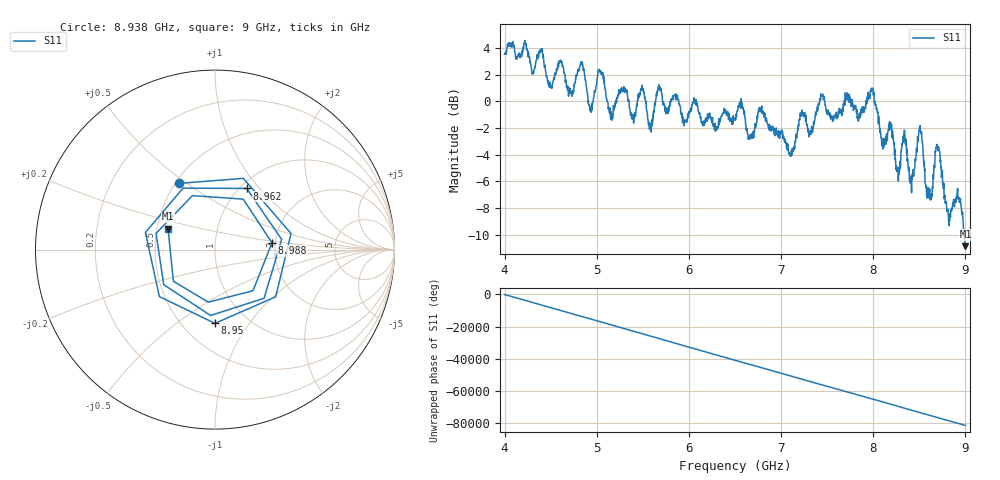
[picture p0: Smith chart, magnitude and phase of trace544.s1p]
! Created with skrf 1.8.0 (http://scikit-rf.org).
# Hz S RI R 50.0
!freq ReS11 ImS11
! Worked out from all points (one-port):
!   1601 points, 4 GHz to 9 GHz, reference 50 ohm
!   lowest |S11| = -10.9 dB at 9 GHz (marker M1), VSWR 1.80, Z = 28.6 + j7.29 ohm
!   |S11| at or under -10 dB: 8.989364 GHz to end of sweep
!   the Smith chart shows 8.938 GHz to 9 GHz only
!   S11 on the Smith chart (normalised r, x): 8.938 GHz: 0.52, +0.47; 8.95 GHz: 0.71, -0.70; 8.962 GHz: 1.07, +0.86; 8.988 GHz: 1.92, +0.16; 9 GHz: 0.57, +0.15
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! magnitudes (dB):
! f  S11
! 4 GHz  3.5
! 4.625 GHz  2.6
! 4.716 GHz  0.8
! 4.841 GHz  2.8
! 4.931 GHz  -0.5
! 5.034 GHz  2.3
! 5.153 GHz  -1.1
! 5.25 GHz  0.7
! 5.581 GHz  -1.7
! 5.672 GHz  1.3
! 5.875 GHz  0.4
! 6.5 GHz  -1.3
! 7.125 GHz  -3.8
! 7.231 GHz  -1.1
! 7.75 GHz  0.2
! 7.991 GHz  0.9
! 8.262 GHz  -5.2
! 8.375 GHz  -4.4
! 8.425 GHz  -5.4
! 8.506 GHz  -2.0
! 8.603 GHz  -6.5
! 8.697 GHz  -3.5
! 8.812 GHz  -8.3
! 8.938 GHz  -7.5
! 8.95 GHz  -7.7
! 8.962 GHz  -8.3
! 8.988 GHz  -9.9
! 9 GHz  -10.9
